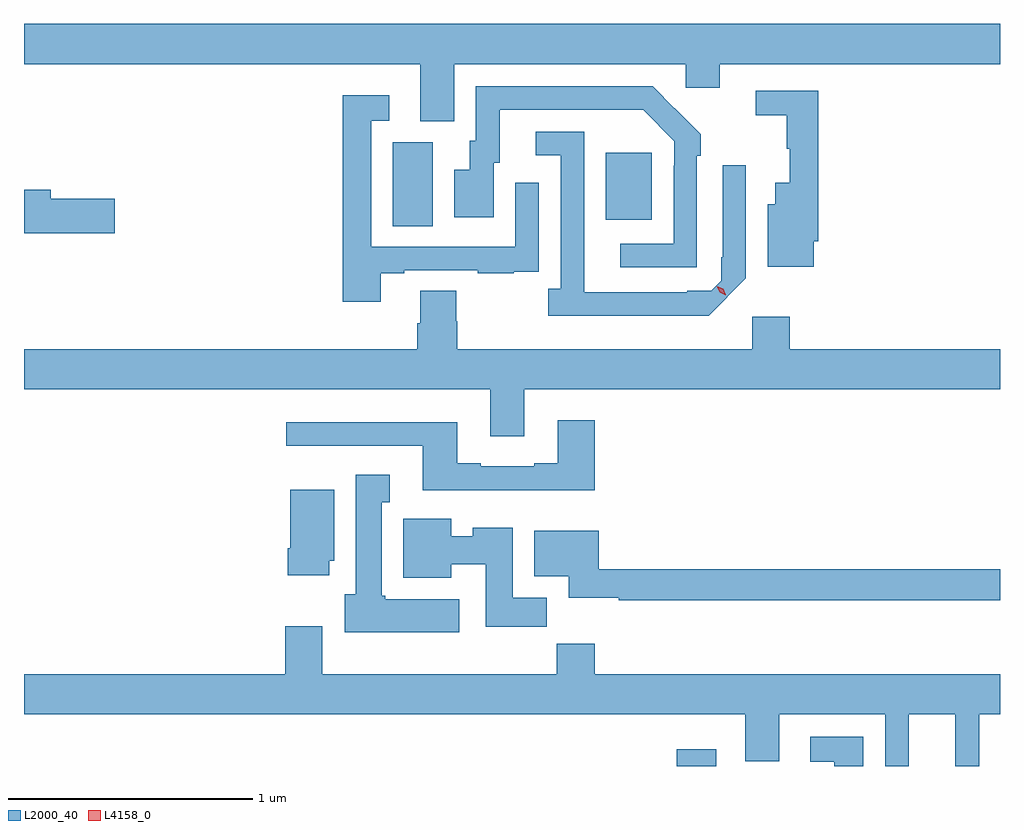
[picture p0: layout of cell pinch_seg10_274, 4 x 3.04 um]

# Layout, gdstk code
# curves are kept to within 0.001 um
import gdstk
lib = gdstk.Library(unit=1e-6, precision=1e-09)
def R(c, l, rs):  # rectangles x0, y0, x1, y1
    for r in rs: c.add(gdstk.rectangle(r[:2], r[2:], *l))
def P(c, l, *ps):  # polygons
    for p in ps: c.add(gdstk.Polygon(p, *l))
L2000_40 = (2000, 40)
L4158_0 = (4158, 0)

pinch_seg10_274 = lib.new_cell('pinch_seg10_274')
R(pinch_seg10_274, L2000_40, [(497.708,1304.099,497.869,1304.167), (496.544,1306.312,496.708,1306.656), (497.417,1306.337,497.605,1306.612)])
P(pinch_seg10_274, L2000_40, [(496.795,1306.976),(497.745,1306.976),(497.745,1306.878),(497.884,1306.878),(497.884,1306.976),(499.032,1306.976),(499.032,1307.14),(495.032,1307.14),(495.032,1306.976),(496.655,1306.976),(496.655,1306.741),(496.795,1306.741)],
  [(497.79,1306.601),(497.805,1306.601),(497.805,1306.689),(497.608,1306.884),(496.884,1306.884),(496.884,1306.662),(496.859,1306.662),(496.859,1306.543),(496.796,1306.543),(496.796,1306.347),(496.957,1306.347),(496.957,1306.572),(496.981,1306.572),(496.981,1306.788),(497.569,1306.788),(497.697,1306.659),(497.697,1306.559),(497.694,1306.559),(497.694,1306.239),(497.475,1306.239),(497.475,1306.143),(497.79,1306.143)],
  [(498.268,1306.249),(498.287,1306.249),(498.287,1306.866),(498.03,1306.866),(498.03,1306.765),(498.159,1306.765),(498.159,1306.629),(498.17,1306.629),(498.17,1306.489),(498.11,1306.489),(498.11,1306.402),(498.08,1306.402),(498.08,1306.145),(498.268,1306.145)],
  [(496.495,1306.119),(496.591,1306.119),(496.591,1306.131),(496.891,1306.131),(496.891,1306.119),(497.039,1306.119),(497.039,1306.125),(497.141,1306.125),(497.141,1306.234),(497.142,1306.234),(497.142,1306.489),(497.046,1306.489),(497.046,1306.227),(496.455,1306.227),(496.455,1306.743),(496.528,1306.743),(496.528,1306.849),(496.339,1306.849),(496.339,1306.002),(496.495,1306.002)],
  [(497.991,1306.097),(497.991,1306.561),(497.895,1306.561),(497.895,1306.185),(497.889,1306.185),(497.889,1306.088),(497.848,1306.047),(497.751,1306.047),(497.751,1306.041),(497.329,1306.041),(497.328,1306.698),(497.13,1306.698),(497.13,1306.602),(497.232,1306.602),(497.232,1306.054),(497.181,1306.054),(497.181,1305.944),(497.838,1305.944)],
  [(495.403,1306.424),(495.142,1306.424),(495.142,1306.46),(495.032,1306.46),(495.032,1306.282),(495.403,1306.282)],
  [(497.083,1305.644),(499.032,1305.644),(499.032,1305.808),(498.17,1305.808),(498.17,1305.94),(498.017,1305.94),(498.017,1305.808),(496.808,1305.808),(496.808,1305.921),(496.803,1305.921),(496.803,1306.046),(496.655,1306.046),(496.655,1305.914),(496.643,1305.914),(496.643,1305.808),(495.032,1305.808),(495.032,1305.644),(496.943,1305.644),(496.943,1305.45),(497.083,1305.45)],
  [(497.372,1305.517),(497.219,1305.517),(497.219,1305.34),(497.123,1305.34),(497.123,1305.327),(496.903,1305.327),(496.903,1305.34),(496.807,1305.34),(496.807,1305.508),(496.107,1305.508),(496.107,1305.411),(496.667,1305.411),(496.667,1305.23),(497.372,1305.23)],
  [(496.816,1304.782),(496.512,1304.782),(496.512,1304.796),(496.498,1304.796),(496.498,1305.179),(496.531,1305.179),(496.531,1305.292),(496.391,1305.292),(496.391,1304.802),(496.346,1304.802),(496.346,1304.648),(496.816,1304.648)],
  [(496.282,1304.94),(496.303,1304.94),(496.303,1305.232),(496.124,1305.232),(496.124,1304.992),(496.112,1304.992),(496.112,1304.88),(496.282,1304.88)],
  [(497.174,1304.788),(497.035,1304.788),(497.035,1305.076),(496.871,1305.076),(496.871,1305.041),(496.783,1305.041),(496.783,1305.112),(496.586,1305.112),(496.586,1304.87),(496.783,1304.87),(496.783,1304.926),(496.925,1304.926),(496.925,1304.67),(497.174,1304.67)],
  [(499.032,1304.906),(497.387,1304.906),(497.387,1305.064),(497.123,1305.064),(497.123,1304.876),(497.264,1304.876),(497.264,1304.789),(497.47,1304.789),(497.47,1304.778),(499.032,1304.778)],
  [(498.659,1304.312),(498.848,1304.312),(498.848,1304.099),(498.947,1304.099),(498.947,1304.312),(499.032,1304.312),(499.032,1304.476),(497.372,1304.476),(497.372,1304.6),(497.215,1304.6),(497.215,1304.476),(496.255,1304.476),(496.255,1304.671),(496.103,1304.671),(496.103,1304.476),(495.032,1304.476),(495.032,1304.312),(497.987,1304.312),(497.987,1304.118),(498.127,1304.118),(498.127,1304.312),(498.561,1304.312),(498.561,1304.099),(498.659,1304.099)],
  [(498.472,1304.218),(498.255,1304.218),(498.255,1304.117),(498.353,1304.117),(498.353,1304.099),(498.472,1304.099)])
P(pinch_seg10_274, L4158_0, [(497.908,1306.029),(497.883,1306.04),(497.872,1306.065),(497.872,1306.065),(497.872,1306.065),(497.897,1306.054),(497.908,1306.03),(497.908,1306.029)])

lib.write_gds('pinch_seg10_274.gds')
